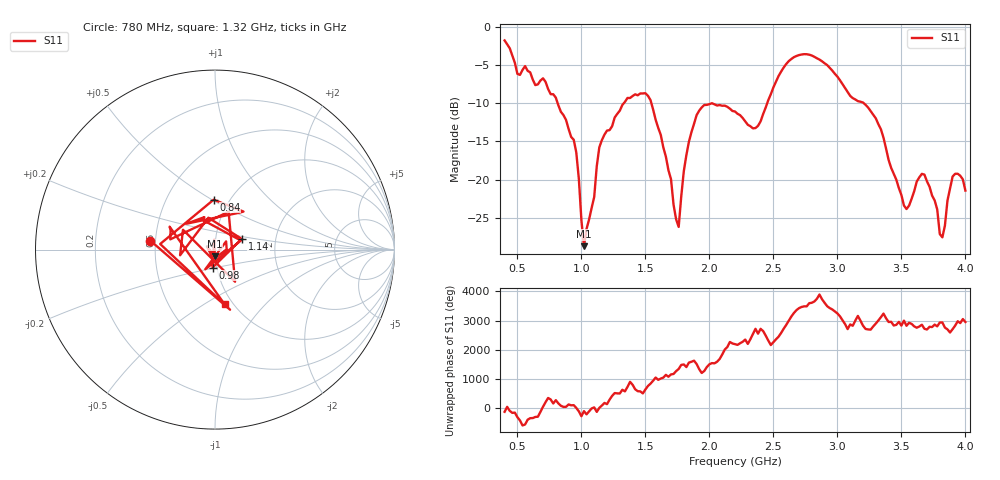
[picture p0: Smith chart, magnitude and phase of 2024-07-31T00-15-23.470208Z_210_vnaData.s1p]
!Created with skrf (http://scikit-rf.org).
# Hz S RI R 50.0
!freq ReS11 ImS11
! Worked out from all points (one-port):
!   181 points, 400 MHz to 4 GHz, reference 50 ohm
!   lowest |S11| = -28.8 dB at 1.02 GHz (marker M1), VSWR 1.08, Z = 49.8 - j3.64 ohm
!   |S11| at or under -10 dB: 815 MHz to 1.33 GHz (515 MHz wide, 48 % of centre); 1.547 GHz to 2.016 GHz (468.7 MHz wide, 26.3 % of centre); 3.208 GHz to end of sweep (the widest 3 of 4)
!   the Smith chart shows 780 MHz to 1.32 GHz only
!   S11 on the Smith chart (normalised r, x): 780 MHz: 0.47, +0.05; 840 MHz: 0.84, +0.51; 980 MHz: 0.95, -0.19; 1.14 GHz: 1.35, +0.16; 1.32 GHz: 0.91, -0.62
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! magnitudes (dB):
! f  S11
! 400 MHz  -1.7
! 500 MHz  -6.1
! 780 MHz  -8.8
! 840 MHz  -11.1
! 860 MHz  -11.5
! 940 MHz  -14.8
! 980 MHz  -19.9
! 1.02 GHz  -28.8
! 1.1 GHz  -22.3
! 1.14 GHz  -15.8
! 1.3 GHz  -11.0
! 1.32 GHz  -10.2
! 1.54 GHz  -9.6
! 1.76 GHz  -26.2
! 1.82 GHz  -16.8
! 1.9 GHz  -11.5
! 2.2 GHz  -11.1
! 2.38 GHz  -12.9
! 2.66 GHz  -3.9
! 2.88 GHz  -4.5
! 3.1 GHz  -9.0
! 3.3 GHz  -12.0
! 3.52 GHz  -23.4
! 3.56 GHz  -23.4
! 3.68 GHz  -19.4
! 3.82 GHz  -27.6
! 3.9 GHz  -19.6
! 4 GHz  -21.5
